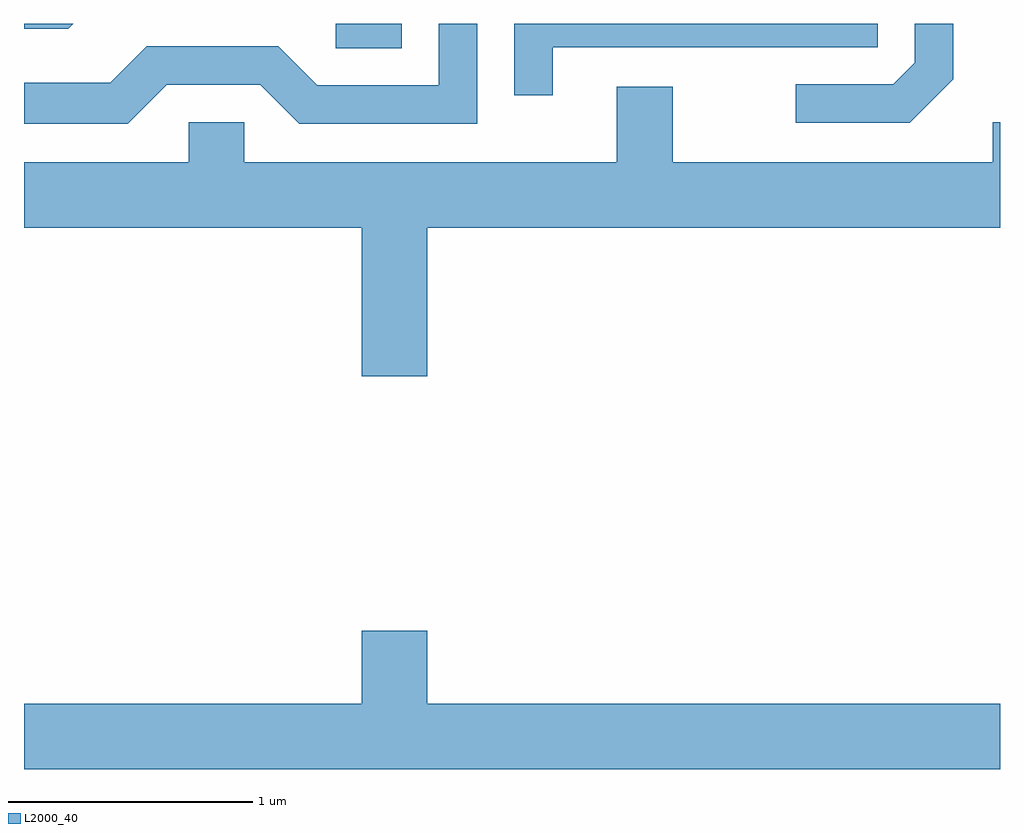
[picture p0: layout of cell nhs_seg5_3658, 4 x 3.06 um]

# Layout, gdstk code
import gdstk
lib = gdstk.Library(unit=1e-6, precision=1e-09)
def R(c, l, rs):  # rectangles x0, y0, x1, y1
    for r in rs: c.add(gdstk.rectangle(r[:2], r[2:], *l))
def P(c, l, *ps):  # polygons
    for p in ps: c.add(gdstk.Polygon(p, *l))
L2000_40 = (2000, 40)

nhs_seg5_3658 = lib.new_cell('nhs_seg5_3658')
R(nhs_seg5_3658, L2000_40, [(294.888,1461.971,295.159,1462.072)])
P(nhs_seg5_3658, L2000_40, [(294.197,1461.821),(294.579,1461.821),(294.739,1461.661),(295.469,1461.661),(295.469,1462.072),(295.311,1462.072),(295.311,1461.819),(294.812,1461.819),(294.652,1461.979),(294.114,1461.979),(293.964,1461.829),(293.611,1461.829),(293.611,1461.661),(294.037,1461.661)],
  [(293.813,1462.072),(293.611,1462.072),(293.611,1462.051),(293.792,1462.051)],
  [(295.779,1461.976),(297.109,1461.976),(297.109,1462.072),(295.621,1462.072),(295.621,1461.778),(295.779,1461.778)],
  [(297.419,1461.844),(297.419,1462.072),(297.261,1462.072),(297.261,1461.912),(297.174,1461.824),(296.773,1461.824),(296.773,1461.666),(297.242,1461.666)],
  [(295.264,1461.236),(297.611,1461.236),(297.611,1461.669),(297.581,1461.669),(297.581,1461.504),(296.269,1461.504),(296.269,1461.814),(296.041,1461.814),(296.041,1461.504),(294.514,1461.504),(294.514,1461.669),(294.286,1461.669),(294.286,1461.504),(293.611,1461.504),(293.611,1461.236),(294.996,1461.236),(294.996,1460.626),(295.264,1460.626)],
  [(297.611,1459.284),(295.264,1459.284),(295.264,1459.584),(294.996,1459.584),(294.996,1459.284),(293.611,1459.284),(293.611,1459.016),(297.611,1459.016)])

lib.write_gds('nhs_seg5_3658.gds')
